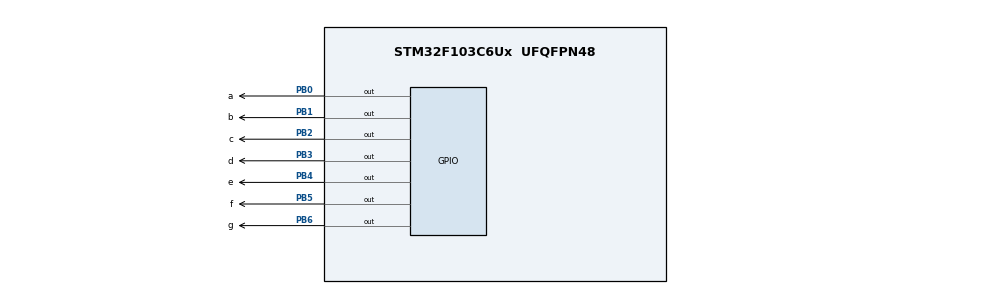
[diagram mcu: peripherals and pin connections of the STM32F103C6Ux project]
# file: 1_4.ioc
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Mcu.Family=STM32F1
Mcu.Name=STM32F103C6Ux
Mcu.Package=UFQFPN48
NVIC.PriorityGroup=NVIC_PRIORITYGROUP_4
PB0.GPIO_Label=a
PB0.Signal=GPIO_Output
PB1.GPIO_Label=b
PB1.Signal=GPIO_Output
PB2.GPIO_Label=c
PB2.Signal=GPIO_Output
PB3.GPIO_Label=d
PB3.Signal=GPIO_Output
PB4.GPIO_Label=e
PB4.Signal=GPIO_Output
PB5.GPIO_Label=f
PB5.Signal=GPIO_Output
PB6.GPIO_Label=g
PB6.Signal=GPIO_Output
ProjectManager.HeapSize=0x200
ProjectManager.StackSize=0x400
ProjectManager.TargetToolchain=STM32CubeIDE
RCC.APB1Freq_Value=8000000
RCC.APB2Freq_Value=8000000
VP_SYS_VS_ND.Mode=No_Debug
board=custom

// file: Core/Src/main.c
/* USER CODE BEGIN Header */
/**
  ******************************************************************************
  * @file           : main.c
  * @brief          : Main program body
  ******************************************************************************
  * @attention
  *
  * <h2><center>&copy; Copyright (c) 2025 STMicroelectronics.
  * All rights reserved.</center></h2>
  *
  * This software component is licensed by ST under BSD 3-Clause license,
  * the "License"; You may not use this file except in compliance with the
  * License. You may obtain a copy of the License at:
  *                        opensource.org/licenses/BSD-3-Clause
  *
  ******************************************************************************
  */
/* USER CODE END Header */
#include "main.h"

/* USER CODE BEGIN PV */
int d7_NUM [10][7] = {
	{0, 0, 0, 0, 0, 0, 1},
	{1, 0, 0, 1, 1, 1, 1},
	{0, 0, 1, 0, 0, 1, 0},
	{0, 0, 0, 0, 1, 1, 0},
	{1, 0, 0, 1, 1, 0, 0},
	{0, 1, 0, 0, 1, 0, 0},
	{0, 1, 0, 0, 0, 0, 0},
	{0, 0, 0, 1, 1, 1, 1},
	{0, 0, 0, 0, 0, 0, 0},
	{0, 0, 0, 0, 1, 0, 0}
};
/* USER CODE END PV */

void SystemClock_Config(void);
static void MX_GPIO_Init(void);
/* USER CODE BEGIN PFP */
void display7SEG(int);
/* USER CODE END PFP */

/* USER CODE BEGIN 0 */
void display7SEG(int num) {
	HAL_GPIO_WritePin(GPIOB, a_Pin, d7_NUM[num][0]);
	HAL_GPIO_WritePin(GPIOB, b_Pin, d7_NUM[num][1]);
	HAL_GPIO_WritePin(GPIOB, c_Pin, d7_NUM[num][2]);
	HAL_GPIO_WritePin(GPIOB, d_Pin, d7_NUM[num][3]);
	HAL_GPIO_WritePin(GPIOB, e_Pin, d7_NUM[num][4]);
	HAL_GPIO_WritePin(GPIOB, f_Pin, d7_NUM[num][5]);
	HAL_GPIO_WritePin(GPIOB, g_Pin, d7_NUM[num][6]);
}
/* USER CODE END 0 */

int main(void)
{

  /* MCU Configuration--------------------------------------------------------*/

  /* Reset of all peripherals, Initializes the Flash interface and the Systick. */
  HAL_Init();

  /* Configure the system clock */
  SystemClock_Config();

  /* Initialize all configured peripherals */
  MX_GPIO_Init();

  /* Infinite loop */
  /* USER CODE BEGIN WHILE */
  int counter = 0;
  while (1)
  {
	if(counter >= 10) counter = 0;
	display7SEG(counter++);
	HAL_Delay(1000);
    /* USER CODE END WHILE */

  }
}

void SystemClock_Config(void)
{
  RCC_OscInitTypeDef RCC_OscInitStruct = {0};
  RCC_ClkInitTypeDef RCC_ClkInitStruct = {0};

  /** Initializes the RCC Oscillators according to the specified parameters
  * in the RCC_OscInitTypeDef structure.
  */
  RCC_OscInitStruct.OscillatorType = RCC_OSCILLATORTYPE_HSI;
  RCC_OscInitStruct.HSIState = RCC_HSI_ON;
  RCC_OscInitStruct.HSICalibrationValue = RCC_HSICALIBRATION_DEFAULT;
  RCC_OscInitStruct.PLL.PLLState = RCC_PLL_NONE;
  if (HAL_RCC_OscConfig(&RCC_OscInitStruct) != HAL_OK)
  {
    Error_Handler();
  }
  /** Initializes the CPU, AHB and APB buses clocks
  */
  RCC_ClkInitStruct.ClockType = RCC_CLOCKTYPE_HCLK|RCC_CLOCKTYPE_SYSCLK
                              |RCC_CLOCKTYPE_PCLK1|RCC_CLOCKTYPE_PCLK2;
  RCC_ClkInitStruct.SYSCLKSource = RCC_SYSCLKSOURCE_HSI;
  RCC_ClkInitStruct.AHBCLKDivider = RCC_SYSCLK_DIV1;
  RCC_ClkInitStruct.APB1CLKDivider = RCC_HCLK_DIV1;
  RCC_ClkInitStruct.APB2CLKDivider = RCC_HCLK_DIV1;

  if (HAL_RCC_ClockConfig(&RCC_ClkInitStruct, FLASH_LATENCY_0) != HAL_OK)
  {
    Error_Handler();
  }
}

static void MX_GPIO_Init(void)
{
  GPIO_InitTypeDef GPIO_InitStruct = {0};

  /* GPIO Ports Clock Enable */
  __HAL_RCC_GPIOB_CLK_ENABLE();

  /*Configure GPIO pin Output Level */
  HAL_GPIO_WritePin(GPIOB, a_Pin|b_Pin|c_Pin|d_Pin
                          |e_Pin|f_Pin|g_Pin, GPIO_PIN_RESET);

  /*Configure GPIO pins : a_Pin b_Pin c_Pin d_Pin
                           e_Pin f_Pin g_Pin */
  GPIO_InitStruct.Pin = a_Pin|b_Pin|c_Pin|d_Pin
                          |e_Pin|f_Pin|g_Pin;
  GPIO_InitStruct.Mode = GPIO_MODE_OUTPUT_PP;
  GPIO_InitStruct.Pull = GPIO_NOPULL;
  GPIO_InitStruct.Speed = GPIO_SPEED_FREQ_LOW;
  HAL_GPIO_Init(GPIOB, &GPIO_InitStruct);

}

void Error_Handler(void)
{
  __disable_irq();
  while (1)
  {
  }
}

/************************ (C) COPYRIGHT STMicroelectronics *****END OF FILE****/
